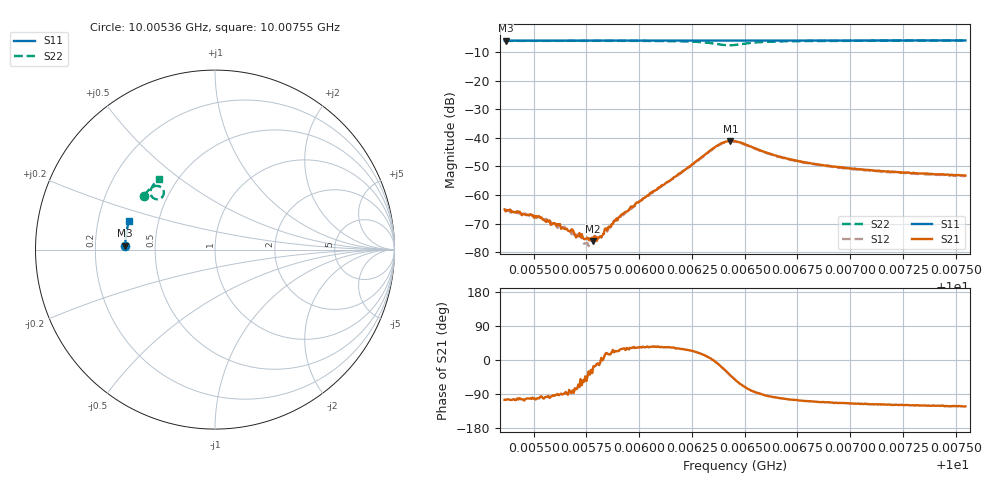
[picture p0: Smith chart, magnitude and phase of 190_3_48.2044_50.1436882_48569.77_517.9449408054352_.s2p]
#  HZ  S  RI  R  50.00
! Rohde & Schwarz Vector Network Analyzer
! Rohde-Schwarz,ZNB20-2Port,1311601062101988,3.16
! Created: UTC 3/20/2024, 11:44:36 AM
! freq[Hz]  re:S11  im:S11  re:S21  im:S21  re:S12  im:S12  re:S22  im:S22
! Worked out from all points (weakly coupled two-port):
!   401 points, 10.00536 GHz to 10.00755 GHz, reference 50 ohm
!   highest |S21| = -41.04 dB at 10.00643 GHz (marker M1); lowest = -76.1 dB at 10.00578 GHz (marker M2)
!   lowest |S11| = -6.0 dB at 10.00537 GHz (marker M3), VSWR 3.00, Z = 16.7 + j0.952 ohm
!   |S11| at or under -10 dB: nowhere
!   |S22| runs from -7.6 to -6.0 dB; largest |S21 - S12| = 0.00052
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1.0005362e10  -0.5 0.0213  -0.000146 -0.000545  -0.000114 -0.000547  -0.3956 0.2996
1.0005368e10  -0.4999 0.0214  -0.000135 -0.000503  -0.000115 -0.000514  -0.3953 0.2995
1.0005537e10  -0.4996 0.0326  -4.16e-05 -0.000404  -6.69e-05 -0.000381  -0.388 0.3097
1.0005657e10  -0.4993 0.0403  2.65e-06 -0.000256  1.86e-05 -0.000257  -0.3823 0.3171
1.000569e10  -0.4992 0.0425  1.23e-05 -0.000226  3.15e-05 -0.000211  -0.3808 0.319
1.0005717e10  -0.499 0.0442  6.95e-05 -0.000206  8.55e-05 -0.000171  -0.3794 0.3208
1.0005728e10  -0.499 0.0449  8.25e-05 -0.00019  9.29e-05 -0.00015  -0.3789 0.3214
1.000575e10  -0.4989 0.0463  9.92e-05 -0.000144  0.000106 -9.78e-05  -0.3776 0.3229
1.0005782e10  -0.4987 0.0485  0.00015 -4.54e-05  0.000154 -5.44e-05  -0.3758 0.325
1.000581e10  -0.4988 0.0502  0.000178 -4.27e-05  0.000177 1.85e-05  -0.3744 0.3267
1.0005853e10  -0.4983 0.053  0.000267 7.28e-05  0.000253 6.93e-05  -0.3717 0.3294
1.0005886e10  -0.4983 0.0552  0.000327 0.000144  0.000318 0.000162  -0.3695 0.3316
1.0005919e10  -0.4981 0.0573  0.000406 0.000228  0.000403 0.000218  -0.3674 0.3338
1.0005995e10  -0.4976 0.0622  0.000621 0.000408  0.000626 0.000435  -0.3617 0.3391
1.0006094e10  -0.4971 0.0687  0.00111 0.00077  0.00104 0.000795  -0.3523 0.3461
1.0006361e10  -0.4944 0.0858  0.00696 -0.000558  0.0068 -0.000234  -0.2888 0.333
1.0006432e10  -0.4936 0.0898  0.0067 -0.0058  0.00687 -0.00531  -0.2996 0.2877
1.0006454e10  -0.4933 0.0911  0.00536 -0.00689  0.00564 -0.00647  -0.3139 0.2809
1.0006645e10  -0.4919 0.1032  -0.000739 -0.00487  -0.00054 -0.00481  -0.3593 0.3231
1.000682e10  -0.4901 0.1145  -0.00116 -0.00333  -0.00101 -0.00336  -0.3522 0.3465
1.0007185e10  -0.4849 0.1375  -0.00117 -0.00226  -0.00104 -0.00227  -0.3329 0.3729
1.0007546e10  -0.4787 0.16  -0.00117 -0.00185  -0.00106 -0.00187  -0.3141 0.3918
